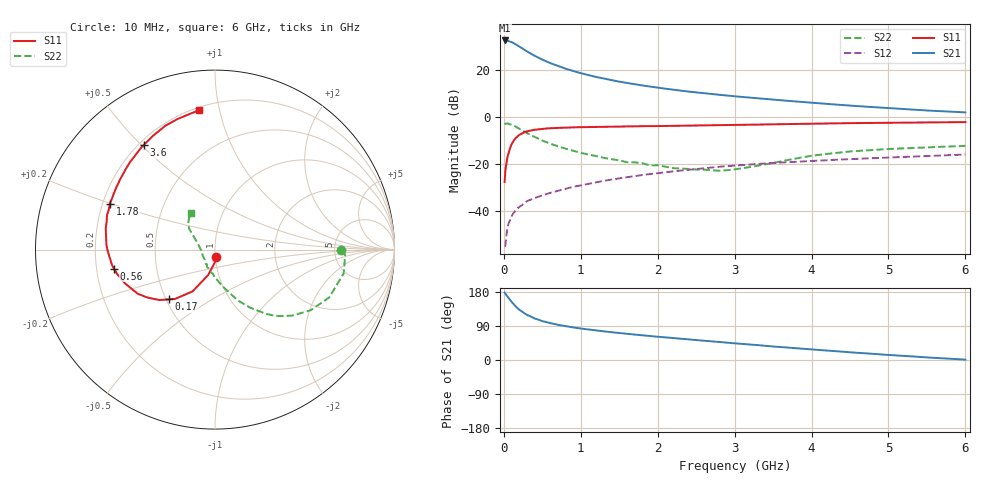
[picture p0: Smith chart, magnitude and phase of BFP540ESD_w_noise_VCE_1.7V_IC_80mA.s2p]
! Infineon Technologies  Discrete & RF Semiconductors
! BFP540ESD
! VCE =  1.7 V,  IC =  80 mA
! Common Emitter S-Parameters:  Nov 2015
# GHz  S  MA  R  50
!  f  S11  S21  S12  S22
! GHz  MAG  ANG  MAG  ANG  MAG  ANG  MAG  ANG
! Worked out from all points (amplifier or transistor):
!   210 points, 10 MHz to 6 GHz, reference 50 ohm
!   highest |S21| = 32.6 dB at 10 MHz (marker M1)
!   |S21| within 3 dB of that: start of sweep to 220.8 MHz
!   unconditionally stable (mu >= 1): start of sweep to 67.19 MHz; 708.3 MHz to end of sweep
!   at 185 MHz: K = 0.69, MSG = 34.5 dB, |S12| = -38.6 dB
!   at 1.52 GHz: K = 1.17, MAG = 17.9 dB, |S12| = -26.0 dB
!   at 6 GHz: K = 1.20, MAG = 6.3 dB, |S12| = -15.9 dB
!   lowest NFmin = 2.38 dB at 900 MHz
!   S11 on the Smith chart (normalised r, x): 10 MHz: 1.01, -0.08; 170 MHz: 0.52, -0.34; 560 MHz: 0.27, -0.09; 1.78 GHz: 0.23, +0.20; 3.6 GHz: 0.22, +0.51; 6 GHz: 0.22, +0.87
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0.01  0.0418 -83.3  42.52 177.8  0.0018 110.2  0.7043 -0.3
0.05  0.147 -105.1  42.09 166.5  0.0047 79.5  0.7291 -10.5
0.1  0.264 -118.2  39.34 153.2  0.0078 70.0  0.69 -22.7
0.15  0.3529 -128.9  35.59 142.0  0.0103 63.2  0.6311 -32.4
0.17  0.3774 -132.7  33.91 138.5  0.0111 63.9  0.6033 -35.5
0.2  0.4169 -137.6  31.67 132.7  0.0123 64.7  0.5652 -40.6
0.24  0.4531 -143.4  28.73 126.8  0.0136 62.4  0.5193 -45.5
0.3  0.4963 -150.4  24.95 119.0  0.0163 60.5  0.4562 -51.6
0.4  0.537 -159.7  20.07 109.6  0.019 58.8  0.3763 -59.0
0.5  0.5632 -166.3  16.64 102.6  0.0216 60.2  0.316 -65.1
0.56  0.5725 -169.3  15.09 99.7  0.0233 60.5  0.2897 -67.5
0.72  0.5908 -176.7  11.9 92.2  0.0276 61.7  0.2339 -74.1
0.9  0.6057 177.3  9.514 86.0  0.0328 62.1  0.1928 -81.2
1.02  0.6104 173.5  8.405 82.5  0.0359 61.9  0.1704 -85.6
1.4  0.6273 164.0  6.085 73.3  0.0468 61.1  0.1278 -101.5
1.78  0.6394 156.4  4.75 65.6  0.058 59.0  0.1055 -115.0
2.02  0.6435 151.6  4.164 61.1  0.0645 57.4  0.0934 -123.6
3.1  0.683 132.4  2.675 42.5  0.0954 48.2  0.0816 176.2
3.6  0.7052 124.2  2.275 34.2  0.108 43.2  0.1142 155.3
4.1  0.726 117.1  1.96 26.4  0.1189 38.5  0.1574 145.0
5.1  0.7586 105.0  1.515 12.1  0.14 29.3  0.2129 134.2
6  0.7812 96.6  1.257 1.0  0.1598 22.2  0.2439 122.6
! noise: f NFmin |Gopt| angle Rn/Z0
0.9  2.38  0.59  -140  0.21
1.8  2.6  0.62  -141  0.22
2.4  2.71  0.63  -130  0.32
3  2.93  0.66  -121  0.48
4  3.08  0.73  -101  0.98
5  3.38  0.79  -86  1.55
6  4.1  0.72  -81  2.55
